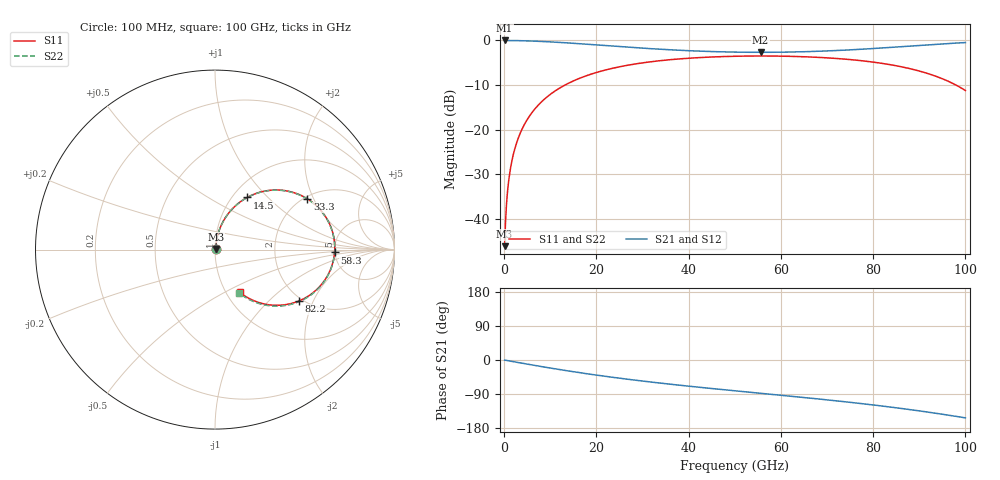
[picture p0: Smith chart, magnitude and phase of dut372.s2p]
! Touchstone file exported from HFSS 2026.1.0
!  File:  C:/ffzhzh/LocalFiles/Ansys_Project_Files/temp_train_RDL_372_1783503566_44152.aedt
!  Generated:  05:40:38 PM Jul  8, 2026
!  Design:  RDL
!  Project:  temp_train_RDL_372_1783503566_44152
! Variables:
!  h_bsmrdl = 2um
!  h_ox = 20um
!  h_rdl = 5um
!  h_sub = 80um
!  h_tmrdl = 2.95um
!  h_tsv = 80um
!  h_via = 3um
!  l_bsmrdl = 300um
!  l_sub = 919.06um
!  l_tmrdl = 519.06um
!  m_sub = 200um
!  pitch = 50.52um
!  r_tsv = 6um
!  s_tmrdl = 10um
!  w_bsmrdl = 18um
!  w_sub = 500um
!  w_tmrdl = 15.61um
!  x_tsv_center1 = 526.865um
!  x_tsv_center2 = 844.865um
!  x_tsv_center3 = 1379.535um
!  x_tsv_center4 = 1697.535um
!  x_tsv_center5 = 2232.205um
!  x_tsv_center6 = 2550.205um
# GHz S MA R 50.000000
! Terminal data exported
! Port[1] = TM_RDL1_1_T1
! Port[2] = TM_RDL1_1_T2
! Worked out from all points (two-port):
!   1000 points, 100 MHz to 100 GHz, reference 50 ohm
!   highest |S21| = -0.04 dB at 100 MHz (marker M1); lowest = -2.7 dB at 55.6 GHz (marker M2)
!   |S21| within 3 dB of the highest: start of sweep to end of sweep
!   lowest |S11| = -46.1 dB at 100 MHz (marker M3), VSWR 1.01, Z = 50.4 + j0.28 ohm
!   |S11| at or under -10 dB: start of sweep to 13.22 GHz; 97.93 GHz to end of sweep
!   |S22| runs from -46.1 to -3.5 dB; largest |S21 - S12| = 2.5e-14
!   S11 on the Smith chart (normalised r, x): 100 MHz: 1.01, +0.01; 14.5 GHz: 1.17, +0.77; 33.3 GHz: 2.08, +1.79; 58.3 GHz: 4.98, -0.28; 82.2 GHz: 1.92, -1.57; 100 GHz: 1.16, -0.59
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0.1  0.004973 34.0  0.9959 -0.2  0.9959 -0.2  0.004973 34.0
! Gamma 0 0 0 0
! Port Impedance 50 0 50 0
0.9  0.02462 76.7  0.9949 -2.0  0.9949 -2.0  0.02462 76.7
1.4  0.0375 79.2  0.9943 -3.1  0.9943 -3.1  0.0375 79.2
2.4  0.06337 79.9  0.9927 -5.3  0.9927 -5.3  0.06337 79.9
3.7  0.09679 78.5  0.9895 -8.1  0.9895 -8.1  0.09679 78.5
5.5  0.1421 75.5  0.9833 -11.9  0.9833 -11.9  0.1421 75.4
7.9  0.2002 70.9  0.9722 -16.9  0.9722 -16.9  0.2002 70.8
10.9  0.268 65.1  0.9544 -23.0  0.9544 -23.0  0.268 65.0
14.5  0.3414 58.3  0.9296 -30.0  0.9296 -30.0  0.3414 58.3
16.8  0.3837 54.2  0.9125 -34.2  0.9125 -34.2  0.3837 54.1
24.4  0.4977 41.6  0.8554 -47.1  0.8554 -47.1  0.4978 41.5
33.3  0.5874 28.8  0.7973 -60.2  0.7973 -60.2  0.5874 28.6
33.4  0.5882 28.7  0.7968 -60.4  0.7968 -60.4  0.5882 28.4
41.7  0.6379 18.0  0.7586 -71.2  0.7586 -71.2  0.638 17.8
50.1  0.6629 8.1  0.7376 -81.4  0.7376 -81.4  0.663 7.7
55.6  0.6675 1.7  0.7337 -87.8  0.7337 -87.8  0.6676 1.4
58.3  0.6665 -1.3  0.7346 -91.0  0.7346 -91.0  0.6666 -1.7
66.7  0.6493 -11.2  0.7494 -101.1  0.7494 -101.1  0.6494 -11.6
82.2  0.5493 -31.3  0.8223 -121.8  0.8223 -121.8  0.5493 -32.0
83.4  0.5368 -33.1  0.83 -123.6  0.83 -123.6  0.5369 -33.7
92.6  0.4127 -47.4  0.8946 -138.8  0.8946 -138.8  0.4128 -48.3
100  0.2743 -59.9  0.9428 -152.7  0.9428 -152.7  0.2743 -61.1
